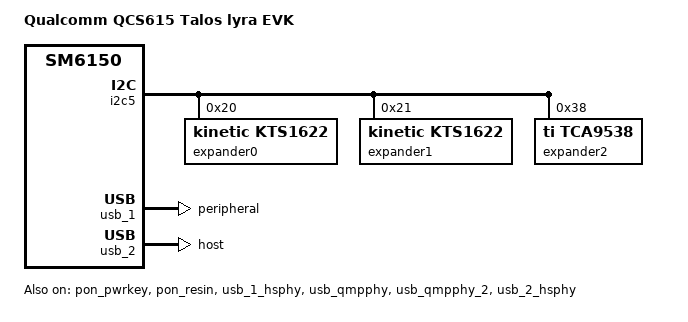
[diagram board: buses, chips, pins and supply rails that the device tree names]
// SPDX-License-Identifier: BSD-3-Clause
/*
 * Copyright (c) Qualcomm Technologies, Inc. and/or its subsidiaries.
 */
/dts-v1/;

#include "talos-lyra-som.dtsi"

/ {
	model = "Qualcomm QCS615 Talos lyra EVK";
	compatible = "qcom,talos-lyra-evk", "qcom,qcs615", "qcom,sm6150";
	chassis-type = "embedded";

};

&i2c5 {
	status = "okay";

	expander0: gpio@20 {
		compatible = "kinetic,kts1622", "nxp,pca9555";
		reg = <0x20>;
		gpio-controller;
		#gpio-cells = <2>;
		#interrupt-cells = <2>;
		interrupt-controller;
	};

	expander1: gpio@21 {
		compatible = "kinetic,kts1622", "nxp,pca9555";
		reg = <0x21>;
		gpio-controller;
		#gpio-cells = <2>;
		#interrupt-cells = <2>;
		interrupt-controller;
	};

	expander2: gpio@38 {
		compatible = "ti,tca9538";
		reg = <0x38>;
		gpio-controller;
		#gpio-cells = <2>;
		#interrupt-cells = <2>;
		interrupt-controller;
	};
};

&pon_pwrkey {
	status = "okay";
};

&pon_resin {
	linux,code = <KEY_VOLUMEDOWN>;

	status = "okay";
};

&usb_1_hsphy {
	vdd-supply = <&vreg_l5a>;
	vdda-pll-supply = <&vreg_l12a>;
	vdda-phy-dpdm-supply = <&vreg_l13a>;

	status = "okay";
};

&usb_qmpphy {
	vdda-phy-supply = <&vreg_l5a>;
	vdda-pll-supply = <&vreg_l12a>;

	status = "okay";
};

&usb_qmpphy_2 {
	vdda-phy-supply = <&vreg_l5a>;
	vdda-pll-supply = <&vreg_l12a>;

	status = "okay";
};

&usb_1 {
	dr_mode = "peripheral";

	status = "okay";
};

&usb_2_hsphy {
	vdd-supply = <&vreg_l5a>;
	vdda-pll-supply = <&vreg_l12a>;
	vdda-phy-dpdm-supply = <&vreg_l13a>;

	status = "okay";
};

&usb_2 {
	dr_mode = "host";

	status = "okay";
};
